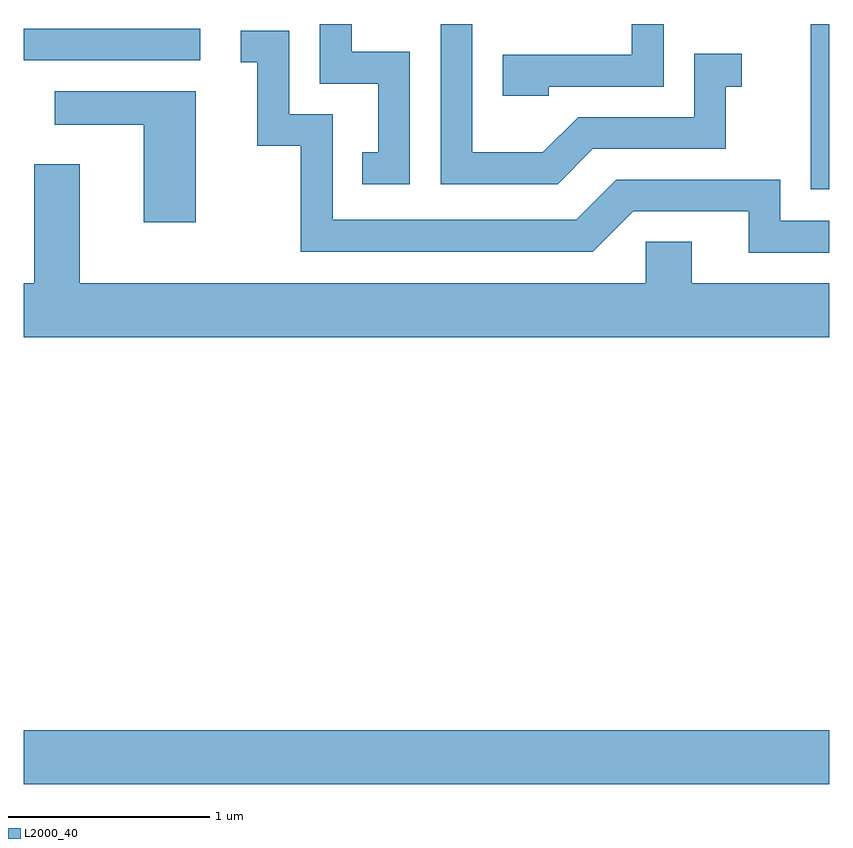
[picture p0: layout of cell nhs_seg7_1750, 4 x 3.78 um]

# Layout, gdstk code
import gdstk
lib = gdstk.Library(unit=1e-6, precision=1e-09)
def R(c, l, rs):  # rectangles x0, y0, x1, y1
    for r in rs: c.add(gdstk.rectangle(r[:2], r[2:], *l))
def P(c, l, *ps):  # polygons
    for p in ps: c.add(gdstk.Polygon(p, *l))
L2000_40 = (2000, 40)

nhs_seg7_1750 = lib.new_cell('nhs_seg7_1750')
R(nhs_seg7_1750, L2000_40, [(237.611,1776.476,241.611,1776.744), (241.521,1779.431,241.611,1780.252), (237.611,1780.071,238.488,1780.229)])
P(nhs_seg7_1750, L2000_40, [(240.437,1779.631),(241.099,1779.631),(241.099,1779.941),(241.178,1779.941),(241.178,1780.104),(240.941,1780.104),(240.941,1779.789),(240.364,1779.789),(240.189,1779.614),(239.839,1779.614),(239.839,1780.252),(239.681,1780.252),(239.681,1779.456),(240.262,1779.456)],
  [(239.529,1780.114),(239.239,1780.114),(239.239,1780.252),(239.081,1780.252),(239.081,1779.956),(239.371,1779.956),(239.371,1779.614),(239.293,1779.614),(239.293,1779.456),(239.529,1779.456)],
  [(240.219,1779.941),(240.789,1779.941),(240.789,1780.252),(240.631,1780.252),(240.631,1780.099),(239.991,1780.099),(239.991,1779.896),(240.219,1779.896)],
  [(241.611,1779.274),(241.369,1779.274),(241.369,1779.479),(240.554,1779.479),(240.354,1779.279),(239.144,1779.279),(239.144,1779.804),(238.929,1779.804),(238.929,1780.219),(238.688,1780.219),(238.688,1780.061),(238.771,1780.061),(238.771,1779.646),(238.986,1779.646),(238.986,1779.121),(240.437,1779.121),(240.637,1779.321),(241.211,1779.321),(241.211,1779.116),(241.611,1779.116)],
  [(238.464,1779.919),(237.763,1779.919),(237.763,1779.751),(238.206,1779.751),(238.206,1779.266),(238.464,1779.266)],
  [(241.611,1778.964),(240.929,1778.964),(240.929,1779.169),(240.701,1779.169),(240.701,1778.964),(237.889,1778.964),(237.889,1779.554),(237.661,1779.554),(237.661,1778.964),(237.611,1778.964),(237.611,1778.696),(241.611,1778.696)])

lib.write_gds('nhs_seg7_1750.gds')
